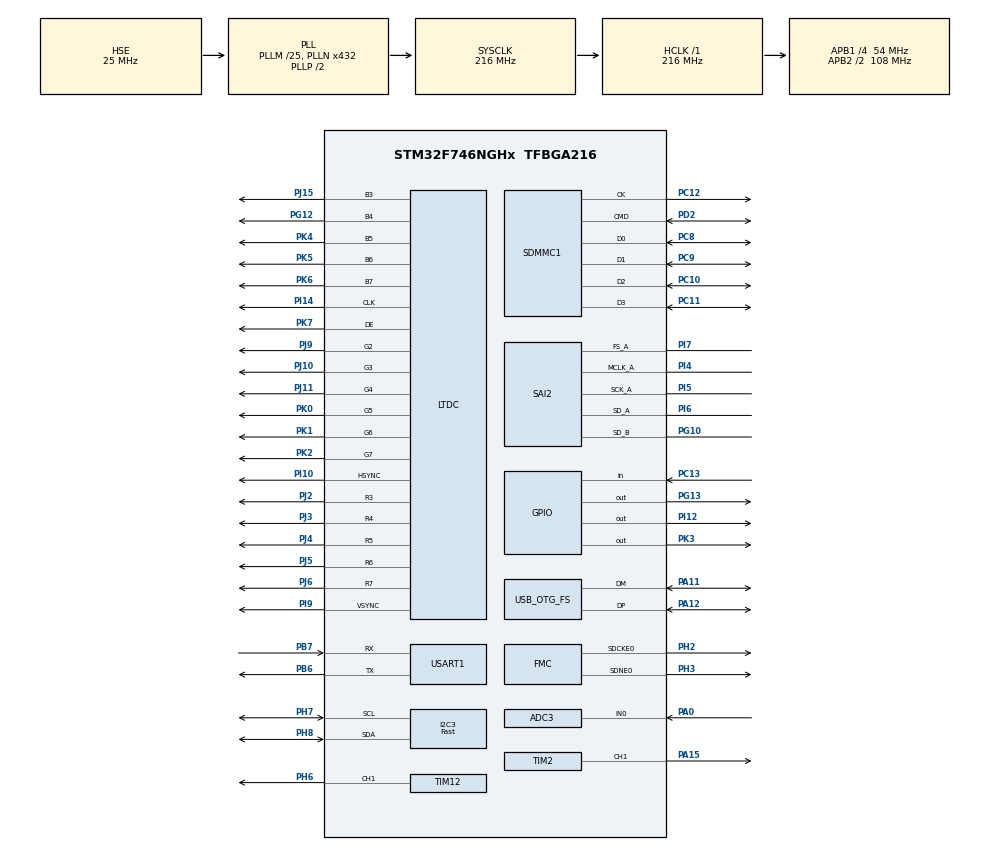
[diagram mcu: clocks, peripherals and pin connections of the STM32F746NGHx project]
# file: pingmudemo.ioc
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ADC3.Channel-0\#ChannelRegularConversion=ADC_CHANNEL_0
ADC3.ContinuousConvMode=ENABLE
ADC3.DMAContinuousRequests=ENABLE
ADC3.InjNumberOfConversion=0
ADC3.NbrOfConversionFlag=1
ADC3.Rank-0\#ChannelRegularConversion=1
ADC3.SamplingTime-0\#ChannelRegularConversion=ADC_SAMPLETIME_3CYCLES
ADC3.ScanConvMode=ADC_SCAN_ENABLE
Dma.ADC3.0.Direction=DMA_PERIPH_TO_MEMORY
Dma.ADC3.0.FIFOMode=DMA_FIFOMODE_ENABLE
Dma.ADC3.0.FIFOThreshold=DMA_FIFO_THRESHOLD_FULL
Dma.ADC3.0.Instance=DMA2_Stream0
Dma.ADC3.0.MemBurst=DMA_MBURST_SINGLE
Dma.ADC3.0.MemDataAlignment=DMA_MDATAALIGN_HALFWORD
Dma.ADC3.0.MemInc=DMA_MINC_ENABLE
Dma.ADC3.0.Mode=DMA_CIRCULAR
Dma.ADC3.0.PeriphBurst=DMA_PBURST_SINGLE
Dma.ADC3.0.PeriphDataAlignment=DMA_PDATAALIGN_HALFWORD
Dma.ADC3.0.PeriphInc=DMA_PINC_DISABLE
Dma.ADC3.0.Priority=DMA_PRIORITY_HIGH
Dma.Request0=ADC3
Dma.Request1=SAI2_A
Dma.Request2=SAI2_B
Dma.Request3=SDMMC1_RX
Dma.Request4=SDMMC1_TX
Dma.SAI2_A.1.Direction=DMA_MEMORY_TO_PERIPH
Dma.SAI2_A.1.FIFOMode=DMA_FIFOMODE_DISABLE
Dma.SAI2_A.1.Instance=DMA2_Stream4
Dma.SAI2_A.1.MemDataAlignment=DMA_MDATAALIGN_HALFWORD
Dma.SAI2_A.1.MemInc=DMA_MINC_ENABLE
Dma.SAI2_A.1.Mode=DMA_CIRCULAR
Dma.SAI2_A.1.PeriphDataAlignment=DMA_PDATAALIGN_HALFWORD
Dma.SAI2_A.1.PeriphInc=DMA_PINC_DISABLE
Dma.SAI2_A.1.Priority=DMA_PRIORITY_LOW
Dma.SAI2_B.2.Direction=DMA_PERIPH_TO_MEMORY
Dma.SAI2_B.2.FIFOMode=DMA_FIFOMODE_DISABLE
Dma.SAI2_B.2.Instance=DMA2_Stream7
Dma.SAI2_B.2.MemDataAlignment=DMA_MDATAALIGN_HALFWORD
Dma.SAI2_B.2.MemInc=DMA_MINC_ENABLE
Dma.SAI2_B.2.Mode=DMA_CIRCULAR
Dma.SAI2_B.2.PeriphDataAlignment=DMA_PDATAALIGN_HALFWORD
Dma.SAI2_B.2.PeriphInc=DMA_PINC_DISABLE
Dma.SAI2_B.2.Priority=DMA_PRIORITY_LOW
Dma.SDMMC1_RX.3.Direction=DMA_PERIPH_TO_MEMORY
Dma.SDMMC1_RX.3.FIFOMode=DMA_FIFOMODE_ENABLE
Dma.SDMMC1_RX.3.FIFOThreshold=DMA_FIFO_THRESHOLD_FULL
Dma.SDMMC1_RX.3.Instance=DMA2_Stream3
Dma.SDMMC1_RX.3.MemBurst=DMA_MBURST_INC4
Dma.SDMMC1_RX.3.MemDataAlignment=DMA_MDATAALIGN_WORD
Dma.SDMMC1_RX.3.MemInc=DMA_MINC_ENABLE
Dma.SDMMC1_RX.3.Mode=DMA_PFCTRL
Dma.SDMMC1_RX.3.PeriphBurst=DMA_PBURST_INC4
Dma.SDMMC1_RX.3.PeriphDataAlignment=DMA_PDATAALIGN_WORD
Dma.SDMMC1_RX.3.PeriphInc=DMA_PINC_DISABLE
Dma.SDMMC1_RX.3.Priority=DMA_PRIORITY_LOW
Dma.SDMMC1_TX.4.Direction=DMA_MEMORY_TO_PERIPH
Dma.SDMMC1_TX.4.FIFOMode=DMA_FIFOMODE_ENABLE
Dma.SDMMC1_TX.4.FIFOThreshold=DMA_FIFO_THRESHOLD_FULL
Dma.SDMMC1_TX.4.Instance=DMA2_Stream6
Dma.SDMMC1_TX.4.MemBurst=DMA_MBURST_INC4
Dma.SDMMC1_TX.4.MemDataAlignment=DMA_MDATAALIGN_WORD
Dma.SDMMC1_TX.4.MemInc=DMA_MINC_ENABLE
Dma.SDMMC1_TX.4.Mode=DMA_PFCTRL
Dma.SDMMC1_TX.4.PeriphBurst=DMA_PBURST_INC4
Dma.SDMMC1_TX.4.PeriphDataAlignment=DMA_PDATAALIGN_WORD
Dma.SDMMC1_TX.4.PeriphInc=DMA_PINC_DISABLE
Dma.SDMMC1_TX.4.Priority=DMA_PRIORITY_LOW
FATFS.BSP.number=1
FATFS.USE_DMA_CODE_SD=1
FATFS0.BSP.STBoard=false
FATFS0.BSP.api=Unknown
FATFS0.BSP.i2caddr=0
FATFS0.BSP.instance=PC13
FATFS0.BSP.ip=GPIO
FATFS0.BSP.mode=Input
FATFS0.BSP.name=Detect_SDIO
FATFS0.BSP.solution=PC13
GRAPHICS.BSP.number=1
GRAPHICS.Check_OTM8009A_PixelFormat-STemWin=1
GRAPHICS.DMA2D_Graphics-STemWin=0
GRAPHICS.EA_1_Apptype=Window
GRAPHICS.EA_1_custom_path=custom_off
GRAPHICS.EA_1_executable_name-STemWin=GUIBuilder.exe
GRAPHICS.GUI_NUM_LAYERS-STemWin=2
GRAPHICS.GUI_Num_KBYTES=30
GRAPHICS.LIN_Color_Conversion_Layer0=GUICC_M565
GRAPHICS.LIN_Color_Conversion_Layer1=GUICC_M565
GRAPHICS.LIN_Frame_Buffer_Depth_Layer0-STemWin=16
GRAPHICS.LIN_Frame_Buffer_Depth_Layer1-STemWin=16
GRAPHICS.OPTIM_OS_use-STemWin=4
GRAPHICS.USE_Embedded_Wizard-STemWin=0
GRAPHICS.USE_STTouchGFX-STemWin=0
GRAPHICS.UseGUIBuilder=Enabled
GRAPHICS.Use_SDRAM-STemWin=SDRAM1_BANK1
GRAPHICS0.BSP.STBoard=false
GRAPHICS0.BSP.api=Unknown
GRAPHICS0.BSP.i2caddr=0
GRAPHICS0.BSP.instance=PG13
GRAPHICS0.BSP.ip=GPIO
GRAPHICS0.BSP.mode=Output
GRAPHICS0.BSP.name=LCD Reset Pin XRES
GRAPHICS0.BSP.solution=PG13
I2C3.I2C_Speed_Mode=I2C_Fast
I2C3.Timing=0x6000030D
LTDC.ActiveH=272
LTDC.ActiveW=480
LTDC.Alpha_L0=255
LTDC.FBStartAdress_L0=0x20010400
LTDC.HBP=43
LTDC.HFP=8
LTDC.HSync=1
LTDC.ImageHeight_L0=272
LTDC.ImageWidth_L0=480
LTDC.PixelFormat_L0=LTDC_PIXEL_FORMAT_RGB565
LTDC.PixelFormat_L1=LTDC_PIXEL_FORMAT_RGB565
LTDC.VBP=12
LTDC.VFP=4
LTDC.VSync=10
LTDC.WindowX1_L0=480
LTDC.WindowY1_L0=272
Mcu.Family=STM32F7
Mcu.Name=STM32F746NGHx
Mcu.Package=TFBGA216
NVIC.ADC_IRQn=true\:0\:0\:false\:false\:true\:true\:true
NVIC.DMA2_Stream0_IRQn=true\:0\:0\:false\:false\:true\:false\:true
NVIC.DMA2_Stream3_IRQn=true\:0\:0\:false\:false\:true\:false\:true
NVIC.DMA2_Stream4_IRQn=true\:0\:0\:false\:false\:true\:false\:true
NVIC.DMA2_Stream6_IRQn=true\:0\:0\:false\:false\:true\:false\:true
NVIC.DMA2_Stream7_IRQn=true\:0\:0\:false\:false\:true\:false\:true
NVIC.I2C3_EV_IRQn=true\:0\:0\:false\:false\:true\:true\:true
NVIC.OTG_FS_IRQn=true\:0\:0\:false\:false\:true\:false\:true
NVIC.PriorityGroup=NVIC_PRIORITYGROUP_4
NVIC.SAI2_IRQn=true\:0\:0\:false\:false\:true\:true\:true
NVIC.SDMMC1_IRQn=true\:0\:0\:false\:false\:true\:true\:true
NVIC.TIM8_BRK_TIM12_IRQn=true\:0\:0\:false\:false\:true\:true\:true
PA0/WKUP.Signal=ADCx_IN0
PA11.Mode=Device_Only
PA11.Signal=USB_OTG_FS_DM
PA12.Mode=Device_Only
PA12.Signal=USB_OTG_FS_DP
PA13.Mode=Trace_Asynchronous_SW
PA13.Signal=SYS_JTMS-SWDIO
PA14.Mode=Trace_Asynchronous_SW
PA14.Signal=SYS_JTCK-SWCLK
PA15.Signal=S_TIM2_CH1_ETR
PB3.Mode=Trace_Asynchronous_SW
PB3.Signal=SYS_JTDO-SWO
PB6.Mode=Asynchronous
PB6.Signal=USART1_TX
PB7.Mode=Asynchronous
PB7.Signal=USART1_RX
PC10.Mode=SD_4_bits_Wide_bus
PC10.Signal=SDMMC1_D2
PC11.Mode=SD_4_bits_Wide_bus
PC11.Signal=SDMMC1_D3
PC12.Mode=SD_4_bits_Wide_bus
PC12.Signal=SDMMC1_CK
PC13.Signal=GPIO_Input
PC14/OSC32_IN.Mode=LSE-External-Oscillator
PC14/OSC32_IN.Signal=RCC_OSC32_IN
PC15/OSC32_OUT.Mode=LSE-External-Oscillator
PC15/OSC32_OUT.Signal=RCC_OSC32_OUT
PC8.Mode=SD_4_bits_Wide_bus
PC8.Signal=SDMMC1_D0
PC9.Mode=SD_4_bits_Wide_bus
PC9.Signal=SDMMC1_D1
PD2.Mode=SD_4_bits_Wide_bus
PD2.Signal=SDMMC1_CMD
PG10.Mode=SAI_B_SyncSlave
PG10.Signal=SAI2_SD_B
PG12.Mode=RGB565
PG12.Signal=LTDC_B4
PG13.Signal=GPIO_Output
PH0/OSC_IN.Mode=HSE-External-Oscillator
PH0/OSC_IN.Signal=RCC_OSC_IN
PH1/OSC_OUT.Mode=HSE-External-Oscillator
PH1/OSC_OUT.Signal=RCC_OSC_OUT
PH2.Mode=SdramChipSelect1_1
PH2.Signal=FMC_SDCKE0
PH3.Mode=SdramChipSelect1_1
PH3.Signal=FMC_SDNE0
PH6.Signal=S_TIM12_CH1
PH7.Mode=I2C
PH7.Signal=I2C3_SCL
PH8.Mode=I2C
PH8.Signal=I2C3_SDA
PI10.Mode=RGB565
PI10.Signal=LTDC_HSYNC
PI12.PinState=GPIO_PIN_SET
PI12.Signal=GPIO_Output
PI14.Mode=RGB565
PI14.Signal=LTDC_CLK
PI4.Mode=SAI_A_MasterWithClock
PI4.Signal=SAI2_MCLK_A
PI5.Mode=SAI_A_MasterWithClock
PI5.Signal=SAI2_SCK_A
PI6.Mode=SAI_A_MasterWithClock
PI6.Signal=SAI2_SD_A
PI7.Mode=SAI_A_MasterWithClock
PI7.Signal=SAI2_FS_A
PI9.Mode=RGB565
PI9.Signal=LTDC_VSYNC
PJ10.Mode=RGB565
PJ10.Signal=LTDC_G3
PJ11.Mode=RGB565
PJ11.Signal=LTDC_G4
PJ15.Mode=RGB565
PJ15.Signal=LTDC_B3
PJ2.Mode=RGB565
PJ2.Signal=LTDC_R3
PJ3.Mode=RGB565
PJ3.Signal=LTDC_R4
PJ4.Mode=RGB565
PJ4.Signal=LTDC_R5
PJ5.Mode=RGB565
PJ5.Signal=LTDC_R6
PJ6.Mode=RGB565
PJ6.Signal=LTDC_R7
PJ9.Mode=RGB565
PJ9.Signal=LTDC_G2
PK0.Mode=RGB565
PK0.Signal=LTDC_G5
PK1.Mode=RGB565
PK1.Signal=LTDC_G6
PK2.Mode=RGB565
PK2.Signal=LTDC_G7
PK3.PinState=GPIO_PIN_SET
PK3.Signal=GPIO_Output
PK4.Mode=RGB565
PK4.Signal=LTDC_B5
PK5.Mode=RGB565
PK5.Signal=LTDC_B6
PK6.Mode=RGB565
PK6.Signal=LTDC_B7
PK7.Mode=RGB565
PK7.Signal=LTDC_DE
ProjectManager.HeapSize=0x8000
ProjectManager.StackSize=0x2000
ProjectManager.TargetToolchain=EWARM V8.32
RCC.AHBFreq_Value=216000000
RCC.APB1CLKDivider=RCC_HCLK_DIV4
RCC.APB1Freq_Value=54000000
RCC.APB1TimFreq_Value=108000000
RCC.APB2CLKDivider=RCC_HCLK_DIV2
RCC.APB2Freq_Value=108000000
RCC.APB2TimFreq_Value=216000000
RCC.CortexFreq_Value=216000000
RCC.HCLKFreq_Value=216000000
RCC.HSE_VALUE=25000000
RCC.HSI_VALUE=16000000
RCC.PLLI2SN=344
RCC.PLLI2SQ=7
RCC.PLLM=25
RCC.PLLN=432
RCC.PLLQ=9
RCC.PLLSAIR=4
RCC.PLLSAIRDiv=RCC_PLLSAIDIVR_4
RCC.RTCClockSelection=RCC_RTCCLKSOURCE_LSE
RCC.SAI2CLockSelection=RCC_SAI2CLKSOURCE_PLLI2S
RCC.SDMMCClockSelection=RCC_SDMMC1CLKSOURCE_CLK48
RCC.SYSCLKFreq_VALUE=216000000
RCC.SYSCLKSource=RCC_SYSCLKSOURCE_PLLCLK
RCC.USBFreq_Value=48000000
RCC.VCOOutputFreq_Value=432000000
SAI2.ActiveFrameLength-SAI_A_MasterWithClock=32
SAI2.ActiveFrameLength-SAI_B_SyncSlave=32
SAI2.AudioFrequency-SAI_A_MasterWithClock=SAI_AUDIO_FREQUENCY_16K
SAI2.ClockStrobing-SAI_A_MasterWithClock=SAI_CLOCKSTROBING_RISINGEDGE
SAI2.ClockStrobing-SAI_B_SyncSlave=SAI_CLOCKSTROBING_RISINGEDGE
SAI2.DataSize-SAI_A_MasterWithClock=SAI_DATASIZE_16
SAI2.DataSize-SAI_B_SyncSlave=SAI_DATASIZE_16
SAI2.ErrorAudioFreq-SAI_A_MasterWithClock=-0.01 %
SAI2.FIFOThreshold-SAI_A_MasterWithClock=SAI_FIFOTHRESHOLD_1QF
SAI2.FIFOThreshold-SAI_B_SyncSlave=SAI_FIFOTHRESHOLD_1QF
SAI2.FSDefinition-SAI_A_MasterWithClock=SAI_FS_CHANNEL_IDENTIFICATION
SAI2.FSDefinition-SAI_B_SyncSlave=SAI_FS_CHANNEL_IDENTIFICATION
SAI2.FrameLength-SAI_A_MasterWithClock=64
SAI2.FrameLength-SAI_B_SyncSlave=64
SAI2.Instance-SAI_A_MasterWithClock=SAI$Index_Block_A
SAI2.Instance-SAI_B_SyncSlave=SAI$Index_Block_B
SAI2.MClockEnable-SAI_A_MasterWithClock=SAI_MASTERCLOCK_ENABLE
SAI2.OutputDrive-SAI_A_MasterWithClock=SAI_OUTPUTDRIVE_ENABLE
SAI2.RealAudioFreq-SAI_A_MasterWithClock=15.997 KHz
SAI2.SlotActive-SAI_A_MasterWithClock=0x0000FFFF
SAI2.SlotActive-SAI_B_SyncSlave=0x0000FFFF
SAI2.SlotNumber-SAI_A_MasterWithClock=4
SAI2.SlotNumber-SAI_B_SyncSlave=4
SAI2.VirtualMode-SAI_A_MasterWithClock=VM_MASTER
SAI2.VirtualMode-SAI_B_SyncSlave=VM_SLAVE
SAI2.VirtualSlotActive-SAI_A_MasterWithClock=SAI_SLOTACTIVE_ALL
SAI2.VirtualSlotActive-SAI_B_SyncSlave=SAI_SLOTACTIVE_ALL
SH.ADCx_IN0.0=ADC3_IN0,IN0
SH.S_TIM12_CH1.0=TIM12_CH1,PWM Generation1 CH1
SH.S_TIM2_CH1_ETR.0=TIM2_CH1,PWM Generation1 CH1
TIM12.AutoReloadPreload=TIM_AUTORELOAD_PRELOAD_ENABLE
TIM12.Channel-PWM\ Generation1\ CH1=TIM_CHANNEL_1
TIM12.Period=999
TIM12.Prescaler=215
TIM2.Channel-PWM\ Generation1\ CH1=TIM_CHANNEL_1
USART1.VirtualMode-Asynchronous=VM_ASYNC
USB_DEVICE.CLASS_NAME_FS=MSC
USB_DEVICE.VirtualMode-MSC_FS=Msc
USB_DEVICE.VirtualModeFS=Msc_FS
USB_OTG_FS.VirtualMode=Device_Only
VP_CRC_VS_CRC.Mode=CRC_Activate
VP_FATFS_VS_SDIO.Mode=SDIO
VP_GRAPHICS_VS-DisplayInterface-LTDC.Mode=Display Parallel Interface using LTDC
VP_GRAPHICS_VS-STemWin.Mode=STemWin
VP_RTC_VS_RTC_Activate.Mode=RTC_Enabled
VP_TIM12_VS_ClockSourceINT.Mode=Internal
VP_TIM2_VS_ClockSourceITR.Mode=TriggerSource_ITR0
VP_TIM2_VS_ControllerModeClock.Mode=Clock Mode
VP_USB_DEVICE_VS_USB_DEVICE_MSC_FS.Mode=MSC_FS
board=custom

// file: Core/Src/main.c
/* USER CODE BEGIN Header */
/**
  ******************************************************************************
  * @file           : main.c
  * @brief          : Main program body
  ******************************************************************************
  * @attention
  *
  * <h2><center>&copy; Copyright (c) 2025 STMicroelectronics.
  * All rights reserved.</center></h2>
  *
  * This software component is licensed by ST under BSD 3-Clause license,
  * the "License"; You may not use this file except in compliance with the
  * License. You may obtain a copy of the License at:
  *                        opensource.org/licenses/BSD-3-Clause
  *
  ******************************************************************************
  */
/* USER CODE END Header */

#include "main.h"
#include "adc.h"
#include "crc.h"
#include "dma.h"
#include "fatfs.h"
#include "i2c.h"
#include "rtc.h"
#include "sai.h"
#include "sdmmc.h"
#include "tim.h"
#include "usart.h"
#include "usb_device.h"
#include "gpio.h"

/* USER CODE BEGIN Includes */

#include "ffconf.h"
#include "ff.h"
#include "ff_gen_drv.h"
#include "diskio.h"
#include "integer.h"

/* USER CODE END Includes */

/* USER CODE BEGIN PV */

int free_bytes;

/* USER CODE END PV */

void SystemClock_Config(void);
extern void GRAPHICS_HW_Init(void);
extern void GRAPHICS_Init(void);
extern void GRAPHICS_MainTask(void);

/* USER CODE BEGIN 0 */

void checkTouch (void) {
  uint8_t buffer[6];
  HAL_I2C_Mem_Read(&hi2c3, 0x70, 0x02, 1, buffer, 1, 1000);

  if (buffer[0] > 0 && buffer[0] < 6) {
    HAL_I2C_Mem_Read(&hi2c3, 0x70, 0x03, 1, buffer, 4, 1000);
    GUI_TOUCH_StoreState((buffer[2] << 8 | buffer[3]) & 0x0FFF, (buffer[0] << 8 | buffer[1]) & 0x0FFF);
  }
  else {
    GUI_TOUCH_StoreState(-1, -1);
  }
}

/* USER CODE END 0 */

int main(void)
{

  /* MCU Configuration--------------------------------------------------------*/

  /* Reset of all peripherals, Initializes the Flash interface and the Systick. */
  HAL_Init();

  /* Configure the system clock */
  SystemClock_Config();

  /* Initialize all configured peripherals */
  MX_GPIO_Init();
  MX_CRC_Init();
  MX_RTC_Init();
  MX_I2C3_Init();
  MX_DMA_Init();
  MX_SDMMC1_SD_Init();
  MX_FATFS_Init();
  MX_ADC3_Init();
  MX_SAI2_Init();
  MX_TIM2_Init();
  MX_USART1_UART_Init();
  MX_USB_DEVICE_Init();
  MX_TIM12_Init();
  /* USER CODE BEGIN 2 */

  BSP_SD_Init();

  /* USER CODE END 2 */

/* Initialise the graphical hardware */
  GRAPHICS_HW_Init();

  /* Initialise the graphical stack engine */
  GRAPHICS_Init();

  /* Graphic application */
  GRAPHICS_MainTask();

  /* Infinite loop */
  for(;;);
}

void SystemClock_Config(void)
{
  RCC_OscInitTypeDef RCC_OscInitStruct = {0};
  RCC_ClkInitTypeDef RCC_ClkInitStruct = {0};
  RCC_PeriphCLKInitTypeDef PeriphClkInitStruct = {0};

  /** Configure LSE Drive Capability
  */
  HAL_PWR_EnableBkUpAccess();
  __HAL_RCC_LSEDRIVE_CONFIG(RCC_LSEDRIVE_LOW);
  /** Configure the main internal regulator output voltage
  */
  __HAL_RCC_PWR_CLK_ENABLE();
  __HAL_PWR_VOLTAGESCALING_CONFIG(PWR_REGULATOR_VOLTAGE_SCALE1);
  /** Initializes the CPU, AHB and APB busses clocks
  */
  RCC_OscInitStruct.OscillatorType = RCC_OSCILLATORTYPE_HSE|RCC_OSCILLATORTYPE_LSE;
  RCC_OscInitStruct.HSEState = RCC_HSE_ON;
  RCC_OscInitStruct.LSEState = RCC_LSE_ON;
  RCC_OscInitStruct.PLL.PLLState = RCC_PLL_ON;
  RCC_OscInitStruct.PLL.PLLSource = RCC_PLLSOURCE_HSE;
  RCC_OscInitStruct.PLL.PLLM = 25;
  RCC_OscInitStruct.PLL.PLLN = 432;
  RCC_OscInitStruct.PLL.PLLP = RCC_PLLP_DIV2;
  RCC_OscInitStruct.PLL.PLLQ = 9;
  if (HAL_RCC_OscConfig(&RCC_OscInitStruct) != HAL_OK)
  {
    Error_Handler();
  }
  /** Activate the Over-Drive mode
  */
  if (HAL_PWREx_EnableOverDrive() != HAL_OK)
  {
    Error_Handler();
  }
  /** Initializes the CPU, AHB and APB busses clocks
  */
  RCC_ClkInitStruct.ClockType = RCC_CLOCKTYPE_HCLK|RCC_CLOCKTYPE_SYSCLK
                              |RCC_CLOCKTYPE_PCLK1|RCC_CLOCKTYPE_PCLK2;
  RCC_ClkInitStruct.SYSCLKSource = RCC_SYSCLKSOURCE_PLLCLK;
  RCC_ClkInitStruct.AHBCLKDivider = RCC_SYSCLK_DIV1;
  RCC_ClkInitStruct.APB1CLKDivider = RCC_HCLK_DIV4;
  RCC_ClkInitStruct.APB2CLKDivider = RCC_HCLK_DIV2;

  if (HAL_RCC_ClockConfig(&RCC_ClkInitStruct, FLASH_LATENCY_7) != HAL_OK)
  {
    Error_Handler();
  }
  PeriphClkInitStruct.PeriphClockSelection = RCC_PERIPHCLK_LTDC|RCC_PERIPHCLK_RTC
                              |RCC_PERIPHCLK_USART1|RCC_PERIPHCLK_SAI2
                              |RCC_PERIPHCLK_I2C3|RCC_PERIPHCLK_SDMMC1
                              |RCC_PERIPHCLK_CLK48;
  PeriphClkInitStruct.PLLI2S.PLLI2SN = 344;
  PeriphClkInitStruct.PLLI2S.PLLI2SP = RCC_PLLP_DIV2;
  PeriphClkInitStruct.PLLI2S.PLLI2SR = 2;
  PeriphClkInitStruct.PLLI2S.PLLI2SQ = 7;
  PeriphClkInitStruct.PLLSAI.PLLSAIN = 200;
  PeriphClkInitStruct.PLLSAI.PLLSAIR = 5;
  PeriphClkInitStruct.PLLSAI.PLLSAIQ = 2;
  PeriphClkInitStruct.PLLSAI.PLLSAIP = RCC_PLLSAIP_DIV2;
  PeriphClkInitStruct.PLLI2SDivQ = 1;
  PeriphClkInitStruct.PLLSAIDivQ = 1;
  PeriphClkInitStruct.PLLSAIDivR = RCC_PLLSAIDIVR_4;
  PeriphClkInitStruct.RTCClockSelection = RCC_RTCCLKSOURCE_LSE;
  PeriphClkInitStruct.Sai2ClockSelection = RCC_SAI2CLKSOURCE_PLLI2S;
  PeriphClkInitStruct.Usart1ClockSelection = RCC_USART1CLKSOURCE_PCLK2;
  PeriphClkInitStruct.I2c3ClockSelection = RCC_I2C3CLKSOURCE_PCLK1;
  PeriphClkInitStruct.Clk48ClockSelection = RCC_CLK48SOURCE_PLL;
  PeriphClkInitStruct.Sdmmc1ClockSelection = RCC_SDMMC1CLKSOURCE_CLK48;
  if (HAL_RCCEx_PeriphCLKConfig(&PeriphClkInitStruct) != HAL_OK)
  {
    Error_Handler();
  }
}

void Error_Handler(void)
{
}

/************************ (C) COPYRIGHT STMicroelectronics *****END OF FILE****/
